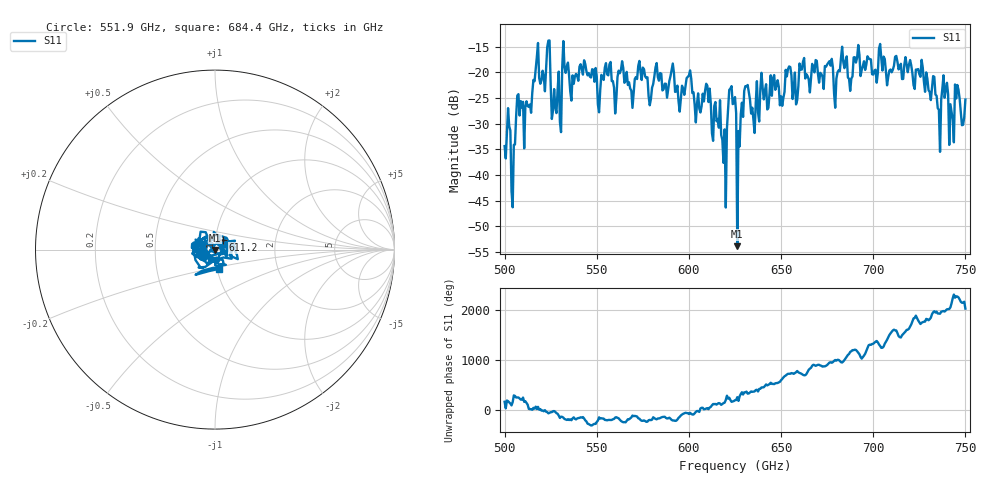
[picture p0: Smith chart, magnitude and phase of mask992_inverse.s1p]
!Created with skrf (http://scikit-rf.org).
# GHz S MA R 50.0
!freq magS11 angS11
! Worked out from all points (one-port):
!   401 points, 500 GHz to 750 GHz, reference 50 ohm
!   lowest |S11| = -53.8 dB at 626.2 GHz (marker M1), VSWR 1.00, Z = 50 - j0.2 ohm
!   |S11| at or under -10 dB: start of sweep to end of sweep
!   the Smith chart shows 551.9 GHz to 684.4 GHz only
!   S11 on the Smith chart (normalised r, x): 551.9 GHz: 0.88, -0.02; 611.2 GHz: 1.08, +0.12; 684.4 GHz: 1.02, -0.22
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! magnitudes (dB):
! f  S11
! 500 GHz  -34.4
! 505 GHz  -34.1
! 507.5 GHz  -24.3
! 511.9 GHz  -25.6
! 516.9 GHz  -19.4
! 523.8 GHz  -13.8
! 526.9 GHz  -23.3
! 531.2 GHz  -19.2
! 533.1 GHz  -20.1
! 551.9 GHz  -23.5
! 562.5 GHz  -20.2
! 593.8 GHz  -22.6
! 611.2 GHz  -23.2
! 618.8 GHz  -37.6
! 622.5 GHz  -23.2
! 625 GHz  -24.8
! 626.2 GHz  -53.8
! 631.2 GHz  -22.7
! 635 GHz  -29.2
! 656.2 GHz  -25.2
! 684.4 GHz  -19.2
! 687.5 GHz  -23.6
! 718.8 GHz  -20.0
! 735.6 GHz  -27.3
! 739.4 GHz  -23.3
! 742.5 GHz  -27.8
! 745.6 GHz  -22.5
! 750 GHz  -25.3
